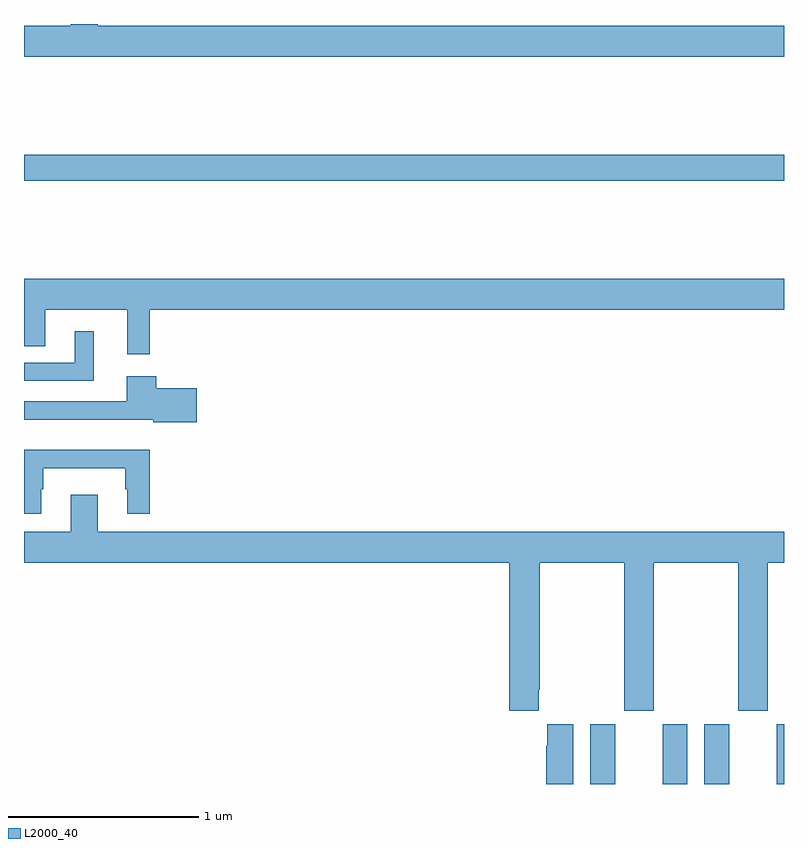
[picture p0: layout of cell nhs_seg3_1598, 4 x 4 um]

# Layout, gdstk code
import gdstk
lib = gdstk.Library(unit=1e-6, precision=1e-09)
def R(c, l, rs):  # rectangles x0, y0, x1, y1
    for r in rs: c.add(gdstk.rectangle(r[:2], r[2:], *l))
def P(c, l, *ps):  # polygons
    for p in ps: c.add(gdstk.Polygon(p, *l))
L2000_40 = (2000, 40)

nhs_seg3_1598 = lib.new_cell('nhs_seg3_1598')
R(nhs_seg3_1598, L2000_40, [(195.98,718.4,196.111,718.714), (196.361,718.4,196.492,718.714), (196.58,718.4,196.711,718.714), (196.961,718.4,197,718.714), (193,721.576,197,721.712)])
P(nhs_seg3_1598, L2000_40, [(197,722.392),(193.387,722.392),(193.387,722.4),(193.247,722.4),(193.247,722.392),(193,722.392),(193,722.228),(197,722.228)],
  [(193.661,720.896),(197,720.896),(197,721.06),(193,721.06),(193,720.703),(193.111,720.703),(193.111,720.896),(193.544,720.896),(193.544,720.663),(193.661,720.663)],
  [(193.367,720.784),(193.268,720.784),(193.268,720.618),(193,720.618),(193,720.522),(193.367,720.522)],
  [(193.909,720.483),(193.697,720.483),(193.697,720.547),(193.541,720.547),(193.541,720.414),(193,720.414),(193,720.317),(193.68,720.317),(193.68,720.305),(193.909,720.305)],
  [(193.09,719.951),(193.102,719.951),(193.102,720.062),(193.533,720.062),(193.533,719.951),(193.544,719.951),(193.544,719.823),(193.661,719.823),(193.661,720.16),(193,720.16),(193,719.823),(193.09,719.823)],
  [(195.709,718.897),(195.714,718.897),(195.714,719.564),(196.159,719.564),(196.159,718.785),(196.314,718.785),(196.314,719.564),(196.759,719.564),(196.759,718.785),(196.914,718.785),(196.914,719.564),(197,719.564),(197,719.728),(193.387,719.728),(193.387,719.923),(193.247,719.923),(193.247,719.728),(193,719.728),(193,719.564),(195.554,719.564),(195.554,718.785),(195.709,718.785)],
  [(195.892,718.714),(195.755,718.714),(195.755,718.601),(195.749,718.601),(195.749,718.4),(195.892,718.4)])

lib.write_gds('nhs_seg3_1598.gds')
